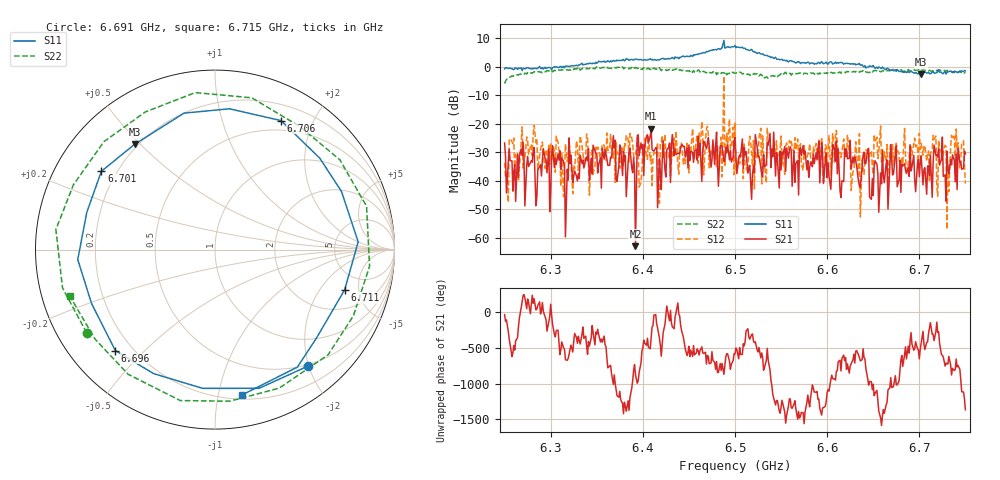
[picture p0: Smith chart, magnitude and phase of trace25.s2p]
# Hz S RI R 50
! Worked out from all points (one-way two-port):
!   401 points, 6.25 GHz to 6.75 GHz, reference 50 ohm
!   highest |S21| = -21.67 dB at 6.409 GHz (marker M1); lowest = -62.9 dB at 6.392 GHz (marker M2)
!   lowest |S11| = -2.6 dB at 6.702 GHz (marker M3), VSWR 6.64, Z = 9.32 + j24 ohm
!   |S11| at or under -10 dB: nowhere
!   |S22| runs from -5.9 to -0.1 dB; largest |S21 - S12| = 0.66
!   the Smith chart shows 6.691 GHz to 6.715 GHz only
!   S11 on the Smith chart (normalised r, x): 6.691 GHz: 0.47, -1.98; 6.696 GHz: 0.14, -0.41; 6.701 GHz: 0.14, +0.31; 6.706 GHz: 0.38, +1.57; 6.711 GHz: 3.37, -3.52; 6.715 GHz: 0.23, -1.17
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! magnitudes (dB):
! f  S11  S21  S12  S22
! 6.25 GHz  -0.8  -26.7  -33.6  -5.9
! 6.258 GHz  -0.7  -33.0  -26.3  -3.2
! 6.264 GHz  -1.0  -30.5  -31.7  -2.8
! 6.282 GHz  -0.5  -28.4  -20.4  -1.8
! 6.312 GHz  -0.4  -32.0  -30.3  -1.0
! 6.334 GHz  1.2  -33.9  -27.7  -0.7
! 6.392 GHz  2.7  -62.9  -31.5  -0.3
! 6.409 GHz  2.4  -21.7  -31.2  -1.0
! 6.418 GHz  2.4  -32.2  -47.8  -0.4
! 6.434 GHz  2.7  -31.2  -25.0  -1.0
! 6.5 GHz  7.5  -24.8  -19.5  -2.3
! 6.516 GHz  5.6  -34.6  -24.3  -3.1
! 6.584 GHz  1.2  -35.0  -34.9  -2.3
! 6.668 GHz  -1.2  -34.3  -30.2  -1.4
! 6.691 GHz  -1.6  -36.6  -27.7  -1.4
! 6.696 GHz  -2.0  -43.8  -28.1  -1.3
! 6.701 GHz  -2.3  -33.6  -28.9  -1.6
! 6.702 GHz  -2.6  -31.2  -26.9  -1.3
! 6.706 GHz  -1.9  -35.4  -27.6  -1.4
! 6.711 GHz  -2.4  -38.1  -40.3  -1.3
! 6.715 GHz  -1.7  -33.4  -24.1  -1.4
! 6.75 GHz  -1.5  -30.6  -41.0  -2.4
